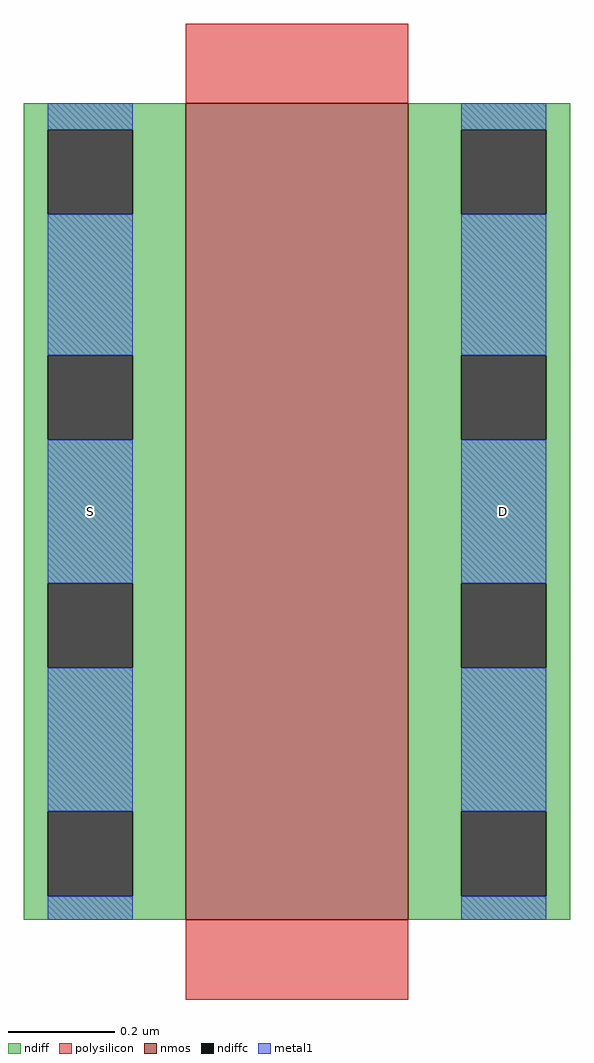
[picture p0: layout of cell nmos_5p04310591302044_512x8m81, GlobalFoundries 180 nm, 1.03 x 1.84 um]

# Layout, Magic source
magic
tech gf180mcuD
magscale 1 10
<< nmos >>
rect 0 0 84 308
<< ndiff >>
rect -61 298 0 308
rect -61 266 -52 298
rect -20 266 0 298
rect -61 213 0 266
rect -61 181 -52 213
rect -20 181 0 213
rect -61 127 0 181
rect -61 95 -52 127
rect -20 95 0 127
rect -61 41 0 95
rect -61 9 -52 41
rect -20 9 0 41
rect -61 0 0 9
rect 84 298 145 308
rect 84 266 104 298
rect 136 266 145 298
rect 84 213 145 266
rect 84 181 104 213
rect 136 181 145 213
rect 84 127 145 181
rect 84 95 104 127
rect 136 95 145 127
rect 84 41 145 95
rect 84 9 104 41
rect 136 9 145 41
rect 84 0 145 9
<< ndiffc >>
rect -52 266 -20 298
rect -52 181 -20 213
rect -52 95 -20 127
rect -52 9 -20 41
rect 104 266 136 298
rect 104 181 136 213
rect 104 95 136 127
rect 104 9 136 41
<< polysilicon >>
rect 0 308 84 338
rect 0 -30 84 0
<< metal1 >>
rect -52 298 -20 308
rect -52 213 -20 266
rect -52 127 -20 181
rect -52 41 -20 95
rect -52 0 -20 9
rect 104 298 136 308
rect 104 213 136 266
rect 104 127 136 181
rect 104 41 136 95
rect 104 0 136 9
<< labels >>
flabel metal1 -36 154 -36 154 0 FreeSans 140 0 0 0 S
flabel metal1 120 154 120 154 0 FreeSans 140 0 0 0 D
<< end >>
